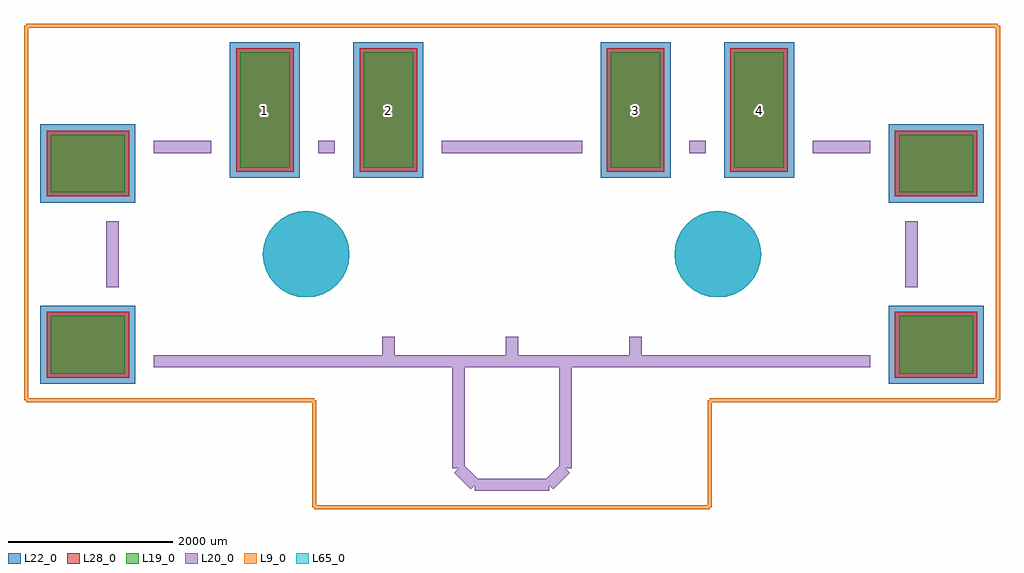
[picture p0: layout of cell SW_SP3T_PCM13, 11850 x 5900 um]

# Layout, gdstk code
import gdstk
lib = gdstk.Library(unit=1e-6, precision=1e-09)
def R(c, l, rs):  # rectangles x0, y0, x1, y1
    for r in rs: c.add(gdstk.rectangle(r[:2], r[2:], *l))
def P(c, l, *ps):  # polygons
    for p in ps: c.add(gdstk.Polygon(p, *l))
L9_0 = (9, 0)
L19_0 = (19, 0)
L20_0 = (20, 0)
L22_0 = (22, 0)
L28_0 = (28, 0)
L65_0 = (65, 0)

sw_sp3t_pcm13 = lib.new_cell('SW_SP3T_PCM13')
R(sw_sp3t_pcm13, L19_0, [(-5600,-1775,-4700,-1075), (4700,-1775,5600,-1075), (-5600,425,-4700,1125), (4700,425,5600,1125), (-3300,725,-2700,2125), (-1800,725,-1200,2125), (1200,725,1800,2125), (2700,725,3300,2125)])
R(sw_sp3t_pcm13, L22_0, [(-5725,-1900,-4575,-950), (4575,-1900,5725,-950), (-5725,300,-4575,1250), (4575,300,5725,1250), (-3425,600,-2575,2250), (-1925,600,-1075,2250), (1075,600,1925,2250), (2575,600,3425,2250)])
P(sw_sp3t_pcm13, L22_0, [(3025,-325),(3014.912,-222.578),(2985.037,-124.091),(2936.522,-33.326),(2871.231,46.231),(2791.674,111.522),(2700.909,160.037),(2602.422,189.912),(2500,200),(2397.578,189.912),(2299.091,160.037),(2208.326,111.522),(2128.769,46.231),(2063.478,-33.326),(2014.963,-124.091),(1985.088,-222.578),(1975,-325),(1985.088,-427.422),(2014.963,-525.909),(2063.478,-616.674),(2128.769,-696.231),(2208.326,-761.522),(2299.091,-810.037),(2397.578,-839.912),(2500,-850),(2602.422,-839.912),(2700.909,-810.037),(2791.674,-761.522),(2871.231,-696.231),(2936.522,-616.674),(2985.037,-525.909),(3014.912,-427.422)],
  [(-1975,-325),(-1985.088,-222.578),(-2014.963,-124.091),(-2063.478,-33.326),(-2128.769,46.231),(-2208.326,111.522),(-2299.091,160.037),(-2397.578,189.912),(-2500,200),(-2602.422,189.912),(-2700.909,160.037),(-2791.674,111.522),(-2871.231,46.231),(-2936.522,-33.326),(-2985.037,-124.091),(-3014.912,-222.578),(-3025,-325),(-3014.912,-427.422),(-2985.037,-525.909),(-2936.522,-616.674),(-2871.231,-696.231),(-2791.674,-761.522),(-2700.909,-810.037),(-2602.422,-839.912),(-2500,-850),(-2397.578,-839.912),(-2299.091,-810.037),(-2208.326,-761.522),(-2128.769,-696.231),(-2063.478,-616.674),(-2014.963,-525.909),(-1985.088,-427.422)])
R(sw_sp3t_pcm13, L28_0, [(-5650,-1825,-4650,-1025), (4650,-1825,5650,-1025), (-5650,375,-4650,1175), (4650,375,5650,1175), (-3350,675,-2650,2175), (-1850,675,-1150,2175), (1150,675,1850,2175), (2650,675,3350,2175)])
P(sw_sp3t_pcm13, L65_0, [(3025,-325),(3014.912,-222.578),(2985.037,-124.091),(2936.522,-33.326),(2871.231,46.231),(2791.674,111.522),(2700.909,160.037),(2602.422,189.912),(2500,200),(2397.578,189.912),(2299.091,160.037),(2208.326,111.522),(2128.769,46.231),(2063.478,-33.326),(2014.963,-124.091),(1985.088,-222.578),(1975,-325),(1985.088,-427.422),(2014.963,-525.909),(2063.478,-616.674),(2128.769,-696.231),(2208.326,-761.522),(2299.091,-810.037),(2397.578,-839.912),(2500,-850),(2602.422,-839.912),(2700.909,-810.037),(2791.674,-761.522),(2871.231,-696.231),(2936.522,-616.674),(2985.037,-525.909),(3014.912,-427.422)],
  [(-1975,-325),(-1985.088,-222.578),(-2014.963,-124.091),(-2063.478,-33.326),(-2128.769,46.231),(-2208.326,111.522),(-2299.091,160.037),(-2397.578,189.912),(-2500,200),(-2602.422,189.912),(-2700.909,160.037),(-2791.674,111.522),(-2871.231,46.231),(-2936.522,-33.326),(-2985.037,-124.091),(-3014.912,-222.578),(-3025,-325),(-3014.912,-427.422),(-2985.037,-525.909),(-2936.522,-616.674),(-2871.231,-696.231),(-2791.674,-761.522),(-2700.909,-810.037),(-2602.422,-839.912),(-2500,-850),(-2397.578,-839.912),(-2299.091,-810.037),(-2208.326,-761.522),(-2128.769,-696.231),(-2063.478,-616.674),(-2014.963,-525.909),(-1985.088,-427.422)])
sw_sp3t_pcm13.add(gdstk.FlexPath([(4850,-725),(4850,75)], 149.998, ends="flush", simple_path=True, layer=20, datatype=0))  # L20_0
sw_sp3t_pcm13.add(gdstk.FlexPath([(-4850,75),(-4850,-725)], 149.998, ends="flush", simple_path=True, layer=20, datatype=0))  # L20_0
sw_sp3t_pcm13.add(gdstk.FlexPath([(-850,975),(850,975)], 149.998, ends="flush", simple_path=True, layer=20, datatype=0))  # L20_0
sw_sp3t_pcm13.add(gdstk.FlexPath([(-4350,-1625),(4350,-1625)], 149.998, ends="flush", simple_path=True, layer=20, datatype=0))  # L20_0
sw_sp3t_pcm13.add(gdstk.FlexPath([(650,-2925),(650,-1625)], 149.998, ends="flush", simple_path=True, layer=20, datatype=0))  # L20_0
sw_sp3t_pcm13.add(gdstk.FlexPath([(450,-3125),(-450,-3125)], 149.998, ends="flush", simple_path=True, layer=20, datatype=0))  # L20_0
sw_sp3t_pcm13.add(gdstk.FlexPath([(-650,-1625),(-650,-2925)], 149.998, ends="flush", simple_path=True, layer=20, datatype=0))  # L20_0
sw_sp3t_pcm13.add(gdstk.FlexPath([(650,-2925),(450,-3125)], 149.998, ends="flush", simple_path=True, layer=20, datatype=0))  # L20_0
sw_sp3t_pcm13.add(gdstk.FlexPath([(-650,-2925),(-450,-3125)], 149.998, ends="flush", simple_path=True, layer=20, datatype=0))  # L20_0
sw_sp3t_pcm13.add(gdstk.FlexPath([(-5900,-2100),(-5900,2450)], 50, ends="flush", simple_path=True, layer=9, datatype=0))  # L9_0
sw_sp3t_pcm13.add(gdstk.FlexPath([(-2400,-2100),(-5900,-2100)], 50, ends="flush", simple_path=True, layer=9, datatype=0))  # L9_0
sw_sp3t_pcm13.add(gdstk.FlexPath([(-2400,-3400),(-2400,-2100)], 50, ends="flush", simple_path=True, layer=9, datatype=0))  # L9_0
sw_sp3t_pcm13.add(gdstk.FlexPath([(2400,-3400),(-2400,-3400)], 50, ends="flush", simple_path=True, layer=9, datatype=0))  # L9_0
sw_sp3t_pcm13.add(gdstk.FlexPath([(2400,-2100),(2400,-3400)], 50, ends="flush", simple_path=True, layer=9, datatype=0))  # L9_0
sw_sp3t_pcm13.add(gdstk.FlexPath([(5900,-2100),(2400,-2100)], 50, ends="flush", simple_path=True, layer=9, datatype=0))  # L9_0
sw_sp3t_pcm13.add(gdstk.FlexPath([(5900,2450),(5900,-2100)], 50, ends="flush", simple_path=True, layer=9, datatype=0))  # L9_0
sw_sp3t_pcm13.add(gdstk.FlexPath([(-5900,2450),(5900,2450)], 50, ends="flush", simple_path=True, layer=9, datatype=0))  # L9_0
sw_sp3t_pcm13.add(gdstk.FlexPath([(2150,975),(2350,975)], 149.998, ends="flush", simple_path=True, layer=20, datatype=0))  # L20_0
sw_sp3t_pcm13.add(gdstk.FlexPath([(-2350,975),(-2150,975)], 149.998, ends="flush", simple_path=True, layer=20, datatype=0))  # L20_0
sw_sp3t_pcm13.add(gdstk.FlexPath([(3650,975),(4350,975)], 149.998, ends="flush", simple_path=True, layer=20, datatype=0))  # L20_0
sw_sp3t_pcm13.add(gdstk.FlexPath([(-4350,975),(-3650,975)], 149.998, ends="flush", simple_path=True, layer=20, datatype=0))  # L20_0
sw_sp3t_pcm13.add(gdstk.FlexPath([(0,-1325),(0,-1625)], 149.998, ends="flush", simple_path=True, layer=20, datatype=0))  # L20_0
sw_sp3t_pcm13.add(gdstk.FlexPath([(1500,-1325),(1500,-1625)], 149.998, ends="flush", simple_path=True, layer=20, datatype=0))  # L20_0
sw_sp3t_pcm13.add(gdstk.FlexPath([(-1500,-1625),(-1500,-1325)], 149.998, ends="flush", simple_path=True, layer=20, datatype=0))  # L20_0
sw_sp3t_pcm13.add(gdstk.Label('4', (3000,1425), layer=28, texttype=0))
sw_sp3t_pcm13.add(gdstk.Label('3', (1500,1425), layer=28, texttype=0))
sw_sp3t_pcm13.add(gdstk.Label('2', (-1500,1425), layer=28, texttype=0))
sw_sp3t_pcm13.add(gdstk.Label('1', (-3000,1425), layer=28, texttype=0))
sw_sp3t_pcm13.add(gdstk.Label('type', (0,-4250), layer=9, texttype=0))
sw_sp3t_pcm13.add(gdstk.Label('devicename', (-3000,3175), layer=9, texttype=0))

lib.write_gds('SW_SP3T_PCM13.gds')
